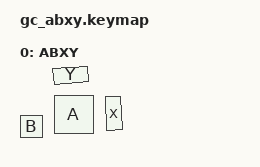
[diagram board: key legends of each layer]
/*
 * gc-abxy default keymap. Positions: 0 = A, 1 = B, 2 = X, 3 = Y (requirement SR-KEY-03).
 * The rear PROFILE button is not a key position: the module reads it directly (gc,profile-button) and runs the
 * profile / bond clear / factory reset state machine, so it is not shown or remappable in ZMK Studio (SR-CTL-12).
 * While PROFILE is held the module swallows A/B/X/Y itself, so no management layer is needed either.
 */
#include <behaviors.dtsi>
#include <dt-bindings/zmk/keys.h>

/ {
    keymap {
        compatible = "zmk,keymap";

        default_layer {
            display-name = "ABXY";
            bindings = <
                &kp A   &kp B   &kp X   &kp Y
            >;
        };
    };
};
